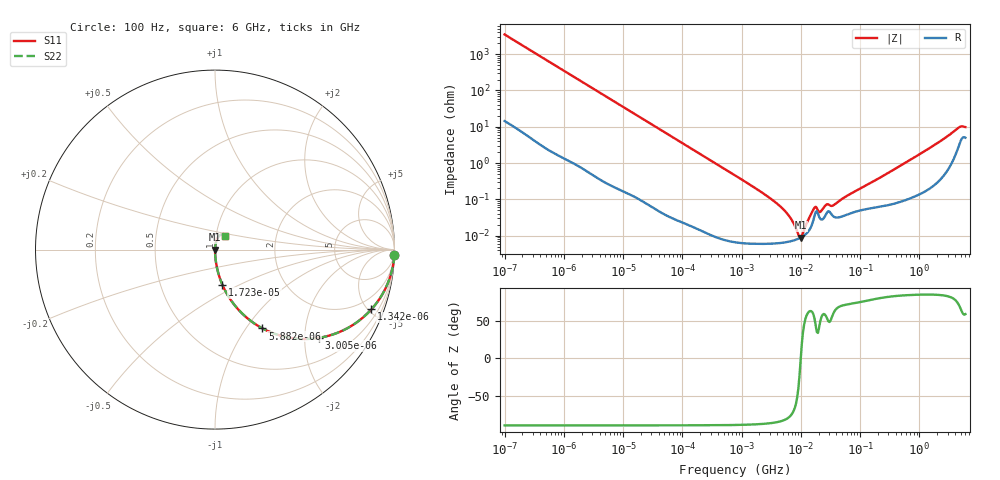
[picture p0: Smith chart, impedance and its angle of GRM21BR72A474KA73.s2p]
!Murata Part Number: GRM21BR72A474KA73
!These Parameters are Measured in Series Mode Connection
!Data Generated on Mar 30, 2021
!  o--ll--o
!Port1  Port2
!  o------o
!Operation Temp=25[degC], DC Bias Voltage=0[V]
!Freq. Start=100[Hz] Stop=6[GHz] 401[Steps]
# Hz S RI R 50
!Freq.(Hz) S11(Real) S11(Imag) S21(Real) S21(Imag) S12(Real) S12(Imag) S22(Real) S22(Imag)
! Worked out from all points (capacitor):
!   401 points, 100 Hz to 6 GHz, reference 50 ohm
!   read as one part in series: C = 456 nF near 109 Hz
!   lowest |Z| = 8.8 mohm at 9.942 MHz (marker M1)
!   series resonance near 9.967 MHz, so ESL is about 560 pH
!   S11 on the Smith chart (normalised r, x): 100 Hz: 1, -70; 1.342 kHz: 1.02, -5.22; 3.005 kHz: 1.01, -2.34; 5.882 kHz: 1.01, -1.20; 17.23 kHz: 1.00, -0.41; 6 GHz: 1.10, +0.17
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100  0.9991 -0.0287  0.000941 0.0287  0.000941 0.0287  0.9991 -0.0287
419  0.9854 -0.118  0.0146 0.118  0.0146 0.118  0.9854 -0.118
1342  0.8712 -0.333  0.1288 0.333  0.1288 0.333  0.8712 -0.333
2008  0.7525 -0.4295  0.2475 0.4295  0.2475 0.4295  0.7525 -0.4295
3005  0.5773 -0.492  0.4227 0.492  0.4227 0.492  0.5773 -0.492
5882  0.2645 -0.439  0.7355 0.439  0.7355 0.439  0.2645 -0.439
17227  0.0413 -0.1963  0.9587 0.1963  0.9587 0.1963  0.0413 -0.1963
40335  0.0081 -0.087  0.9919 0.087  0.9919 0.087  0.0081 -0.087
774597  8.67e-05 -0.00458  0.9999 0.00458  0.9999 0.00458  8.67e-05 -0.00458
4440638  6.3e-05 -0.00065  0.9999 0.00065  0.9999 0.00065  6.3e-05 -0.00065
6353432  6.86e-05 -0.00034  0.9999 0.00034  0.9999 0.00034  6.86e-05 -0.00034
9090158  8.21e-05 -6.88e-05  0.9999 6.88e-05  0.9999 6.88e-05  8.21e-05 -6.88e-05
9941735  8.8e-05 -1.9e-06  0.9999 1.9e-06  0.9999 1.9e-06  8.8e-05 -1.9e-06
1.087309e7  9.59e-05 6.68e-05  0.9999 -6.68e-05  0.9999 -6.68e-05  9.59e-05 6.68e-05
1.555665e7  0.000209 0.000401  0.9998 -0.000401  0.9998 -0.000401  0.000209 0.000401
1.701401e7  0.000349 0.000475  0.9997 -0.000475  0.9997 -0.000475  0.000349 0.000475
2.128304e7  0.000291 0.000342  0.9997 -0.000342  0.9997 -0.000342  0.000291 0.000342
2.662322e7  0.000387 0.000588  0.9996 -0.000588  0.9996 -0.000588  0.000387 0.000588
3.64232e7  0.000329 0.000625  0.9997 -0.000625  0.9997 -0.000625  0.000329 0.000625
3.124326e8  0.000735 0.00554  0.9993 -0.00554  0.9993 -0.00554  0.000735 0.00554
4.586474e9  0.0346 0.0843  0.9654 -0.0843  0.9654 -0.0843  0.0346 0.0843
6e9  0.0536 0.076  0.9464 -0.076  0.9464 -0.076  0.0536 0.076
